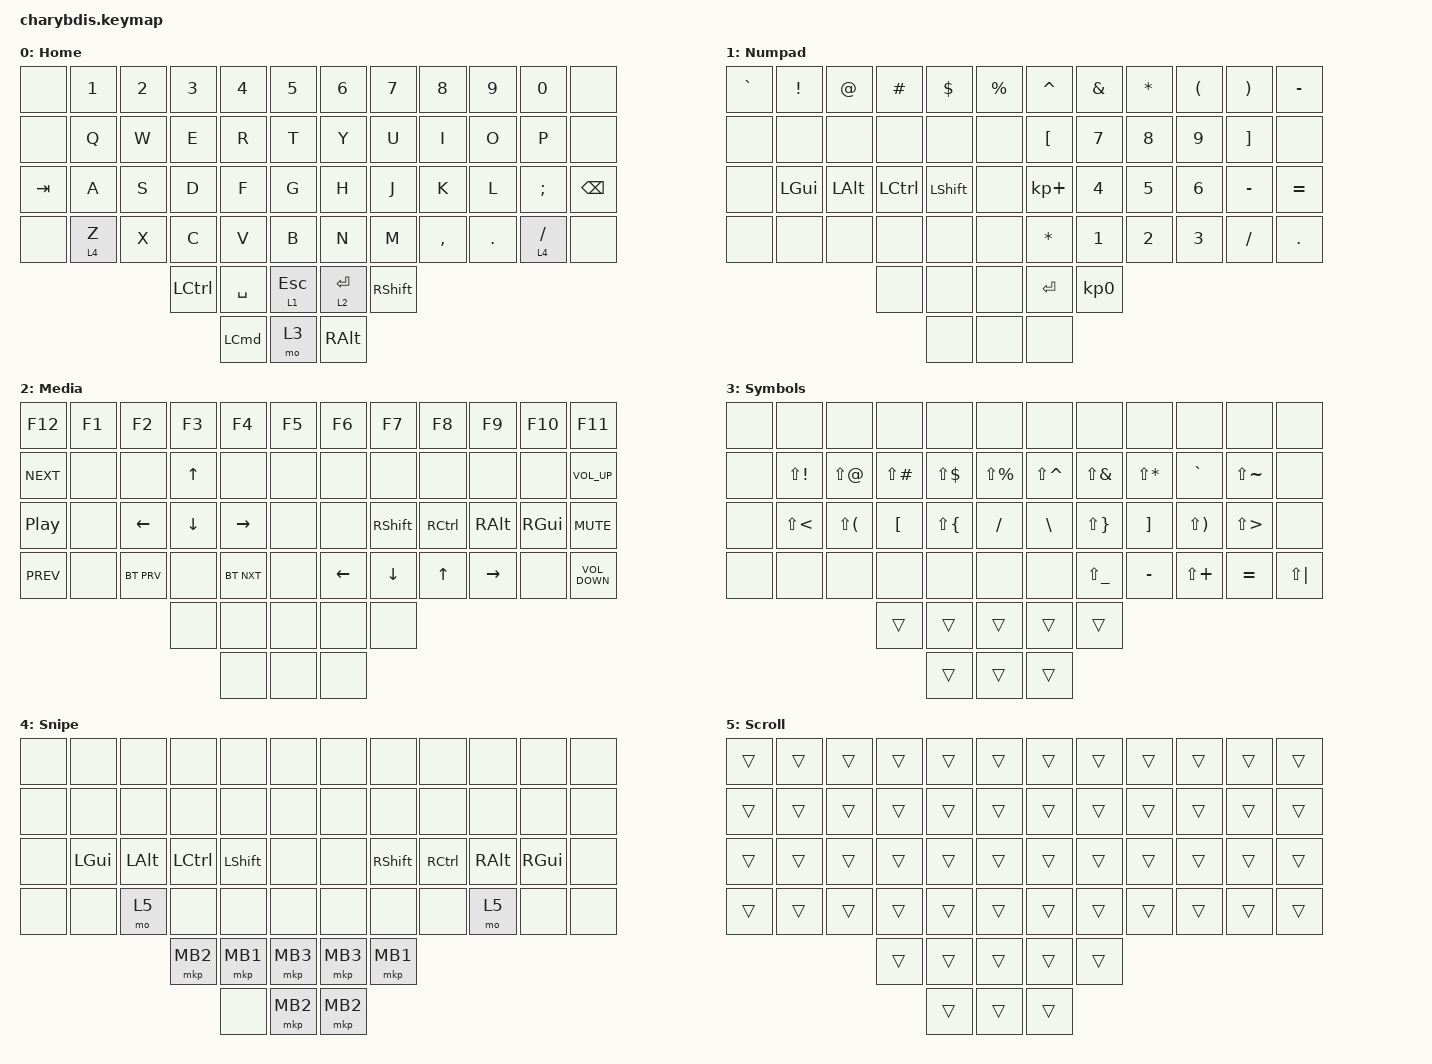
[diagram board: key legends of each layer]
#include <dt-bindings/zmk/mouse.h>
#include <behaviors.dtsi>
#include <dt-bindings/zmk/bt.h>
#include <dt-bindings/zmk/keys.h>
#include <dt-bindings/zmk/pointing.h>

&lt {
    tapping-term-ms = <200>;
    flavor = "balanced";
    quick-tap-ms = <150>;
};

/ {
    combos {
        compatible = "zmk,combos";

        Hyper {
            bindings = <&kp LS(LA(LC(LGUI)))>;
            key-positions = <50 51>;
        };
    };

    keymap {
        compatible = "zmk,keymap";

        Home {
            bindings = <
&none    &kp N1   &kp N2  &kp N3     &kp N4            &kp N5          &kp N6         &kp N7           &kp N8     &kp N9      &kp N0       &none
&none    &kp Q    &kp W   &kp E      &kp R             &kp T           &kp Y          &kp U            &kp I      &kp O       &kp P        &none
&kp TAB  &kp A    &kp S   &kp D      &kp F             &kp G           &kp H          &kp J            &kp K      &kp L       &kp SEMI     &kp BACKSPACE
&none    &lt 4 Z  &kp X   &kp C      &kp V             &kp B           &kp N          &kp M            &kp COMMA  &kp PERIOD  &lt 4 SLASH  &none
                          &kp LCTRL  &kp SPACE         &lt 1 ESCAPE    &lt 2 ENTER    &kp RIGHT_SHIFT
                                     &kp LEFT_COMMAND  &mo 3           &kp RIGHT_ALT
            >;
        };

        Numpad {
            bindings = <
&kp GRAVE  &kp EXCL  &kp AT    &kp HASH   &kp DOLLAR  &kp PERCENT    &kp CARET         &kp AMPERSAND    &kp ASTERISK  &kp LEFT_PARENTHESIS  &kp RIGHT_PARENTHESIS  &kp MINUS
&none      &none     &none     &none      &none       &none          &kp LEFT_BRACKET  &kp N7           &kp N8        &kp N9                &kp RIGHT_BRACKET      &none
&none      &kp LGUI  &kp LALT  &kp LCTRL  &kp LSHFT   &none          &kp KP_PLUS       &kp N4           &kp N5        &kp N6                &kp MINUS              &kp EQUAL
&none      &none     &none     &none      &none       &none          &kp ASTERISK      &kp N1           &kp N2        &kp N3                &kp FSLH               &kp DOT
                               &none      &none       &none          &kp ENTER         &kp KP_NUMBER_0
                                          &none       &none          &none
            >;
        };

        Media {
            bindings = <
&kp F12           &kp F1  &kp F2      &kp F3    &kp F4      &kp F5    &kp F6    &kp F7     &kp F8     &kp F9     &kp F10   &kp F11
&kp C_NEXT        &none   &none       &kp UP    &none       &none     &none     &none      &none      &none      &none     &kp C_VOLUME_UP
&kp C_PLAY_PAUSE  &none   &kp LEFT    &kp DOWN  &kp RIGHT   &none     &none     &kp RSHFT  &kp RCTRL  &kp RALT   &kp RGUI  &kp K_MUTE
&kp C_PREV        &none   &bt BT_PRV  &none     &bt BT_NXT  &none     &kp LEFT  &kp DOWN   &kp UP     &kp RIGHT  &none     &kp C_VOLUME_DOWN
                                      &none     &none       &none     &none     &none
                                                &none       &none     &none
            >;
        };

        Symbols {
            bindings = <
&none  &none         &none         &none          &none         &none            &none          &none          &none         &none         &none          &none
&none  &kp LS(EXCL)  &kp LS(AT)    &kp LS(POUND)  &kp LS(DLLR)  &kp LS(PRCNT)    &kp LS(CARET)  &kp LS(AMPS)   &kp LS(STAR)  &kp GRAVE     &kp LS(TILDE)  &none
&none  &kp LS(LT)    &kp LS(LPAR)  &kp LBKT       &kp LS(LBRC)  &kp FSLH         &kp BSLH       &kp LS(RBRC)   &kp RBKT      &kp LS(RPAR)  &kp LS(GT)     &none
&none  &none         &none         &none          &none         &none            &none          &kp LS(UNDER)  &kp MINUS     &kp LS(PLUS)  &kp EQUAL      &kp LS(PIPE)
                                   &trans         &trans        &trans           &trans         &trans
                                                  &trans        &trans           &trans
            >;
        };

        Snipe {
            label = "Snipe";
            bindings = <
&none  &none     &none     &none      &none      &none       &none     &none      &none      &none     &none     &none
&none  &none     &none     &none      &none      &none       &none     &none      &none      &none     &none     &none
&none  &kp LGUI  &kp LALT  &kp LCTRL  &kp LSHFT  &none       &none     &kp RSHFT  &kp RCTRL  &kp RALT  &kp RGUI  &none
&none  &none     &mo 5     &none      &none      &none       &none     &none      &none      &mo 5     &none     &none
                           &mkp MB2   &mkp MB1   &mkp MB3    &mkp MB3  &mkp MB1
                                      &none      &mkp MB2    &mkp MB2
            >;
        };

        Scroll {
            label = "Scroll";
            bindings = <
&trans  &trans  &trans  &trans  &trans  &trans    &trans  &trans  &trans  &trans  &trans  &trans
&trans  &trans  &trans  &trans  &trans  &trans    &trans  &trans  &trans  &trans  &trans  &trans
&trans  &trans  &trans  &trans  &trans  &trans    &trans  &trans  &trans  &trans  &trans  &trans
&trans  &trans  &trans  &trans  &trans  &trans    &trans  &trans  &trans  &trans  &trans  &trans
                        &trans  &trans  &trans    &trans  &trans
                                &trans  &trans    &trans
            >;
        };

        /* layer_2 {
            bindings = <
&none  &none   &none    &none   &none         &none         &kp N1         &none         &none     &none  &none   &to 0
&none  &none   &none    &none   &none         &none         &none         &none          &rgb_ug RGB_BRD &rgb_ug RGB_BRI  &rgb_ug RGB_EFF   &rgb_ug RGB_TOG
&none  &none   &none    &none   &none         &none         &none         &mkp LCLK     &mkp RCLK  &none  &none   &none
&none  &none   &none    &none   &bt BT_NXT  &bt BT_CLR    &none         &none         &none     &none  &none   &none
                                   &none         &none         &none         &none         &none
                                                 &none         &none         &none
            >;
          trackball-bindings = <&tsl>;
            
        };

       Mouse {
            bindings = <
&none        &none         &none         &none         &none      &none         &none       &none      &none         &none         &none         &none
&none        &bt BT_SEL 0  &bt BT_SEL 1  &bt BT_SEL 3  &none      &bt BT_CLR    &bt BT_CLR  &none      &bt BT_SEL 2  &bt BT_SEL 1  &bt BT_SEL 0  &none
&none        &trans        &trans        &mkp MCLK     &trans     &none         &none       &trans     &mkp MCLK     &trans        &trans        &none
&bootloader  &trans        &mkp RCLK     &mo 4         &mkp LCLK  &mo 5         &mo 5       &mkp LCLK  &mo 4         &mkp RCLK     &trans        &bootloader
                                         &mo 5         &mkp LCLK  &mkp RCLK     &mkp RCLK   &mkp LCLK
                                                       &none      &trans        &trans
            >;

            
        };

        layer_4 {
            bindings = <
&trans  &trans  &trans     &trans     &trans     &trans       &trans     &trans     &trans     &trans     &trans  &trans
&trans  &trans  &trans     &trans     &trans     &trans       &trans     &trans     &trans     &trans     &trans  &trans
&trans  &trans  &trans     &mkp MCLK  &trans     &trans       &trans     &trans     &mkp MCLK  &trans     &trans  &trans
&trans  &trans  &mkp RCLK  &trans     &mkp LCLK  &trans       &trans     &mkp LCLK  &trans     &mkp RCLK  &trans  &trans
                           &trans     &mkp LCLK  &mkp RCLK    &mkp RCLK  &mkp LCLK
                                      &trans     &trans       &trans
            >;
                
                
                trackball-bindings = <&tsl>;
        };

        layer_5 {
            bindings = <
&trans  &trans  &trans     &trans     &trans     &trans       &trans     &trans     &trans     &trans     &trans  &trans
&trans  &trans  &trans     &trans     &trans     &trans       &trans     &trans     &trans     &trans     &trans  &trans
&trans  &trans  &trans     &mkp MCLK  &trans     &trans       &trans     &trans     &mkp MCLK  &trans     &trans  &trans
&trans  &trans  &mkp RCLK  &trans     &mkp LCLK  &trans       &trans     &mkp LCLK  &trans     &mkp RCLK  &trans  &trans
                           &trans     &mkp LCLK  &mkp RCLK    &mkp RCLK  &mkp LCLK
                                      &trans     &trans       &trans
            >;
                trackball-bindings = <&tmv_fine>;
                
        };*/
    };
};
